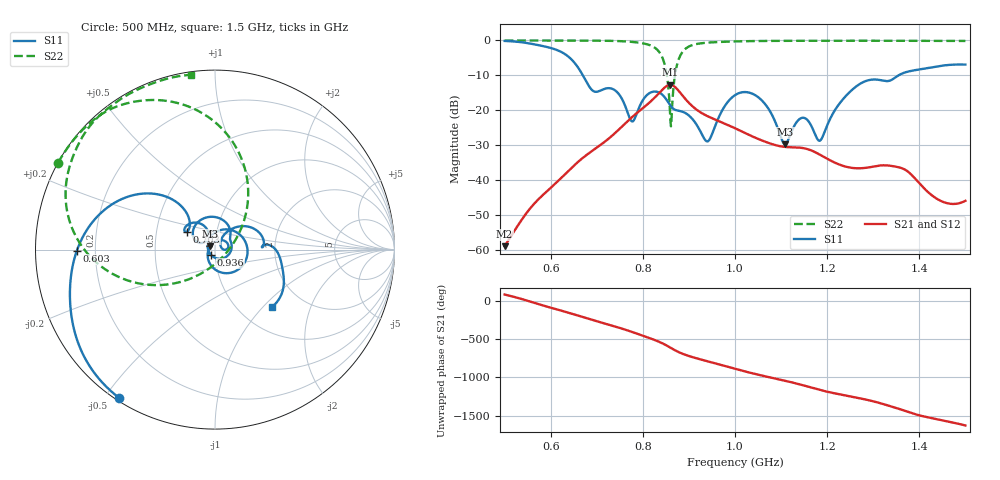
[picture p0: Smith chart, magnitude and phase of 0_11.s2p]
! TOUCHSTONE file generated by CST MICROWAVE STUDIO
! Date and time: Mon Sep 28 14:07:42 2020
! Project name: Scenario_1_Free_SPace.cst
! Parameters = {dx1=346; L_HA=400; MT=2.54; Rad_Dielectric=30; Rad_Lower=7.3; Rad_Upper=30; a_HA=580; a_WG=246; b_HA=500; b_WG=121; c_HA=0; c_WG=187; d_feed=85; h_feed=15; h_lower=18; h_upper=40}
! Header version: 2018
! Port assignment regex: !\s*Touchstone port\s*([0-9]+)\s*=\s*(CST MWS port|CST DS port)\s*([0-9]+|Zmin|Zmax)\s*\(\"(.*)\"\)(\s*mode\s*([0-9]+))?.*
! Touchstone port assignment:
! Touchstone port 1 = CST MWS port 1 ("")
! Touchstone port 2 = CST MWS port 2 ("")
# GHz S DB R 50
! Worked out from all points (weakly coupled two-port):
!   1003 points, 500 MHz to 1.5 GHz, reference 50 ohm
!   highest |S21| = -12.71 dB at 860 MHz (marker M1); lowest = -58.9 dB at 500 MHz (marker M2)
!   lowest |S11| = -29.7 dB at 1.109 GHz (marker M3), VSWR 1.07, Z = 47.3 + j1.77 ohm
!   |S11| at or under -10 dB: 669.8 MHz to 1.355 GHz (685.1 MHz wide, 67.7 % of centre)
!   |S22| runs from -24.6 to 0.0 dB; largest |S21 - S12| = 2.4e-05
!   S11 on the Smith chart (normalised r, x): 500 MHz: 0.01, -0.54; 603 MHz: 0.13, -0.00; 703 MHz: 0.72, +0.15; 936 MHz: 0.95, -0.06; 1.5 GHz: 1.41, -1.13
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0.5  -0.14 -122.8  -58.91 81.0  -58.91 81.0  -0.01 151.1
0.603  -2.27 -179.5  -41.85 -95.7  -41.85 -95.7  -0.02 143.8
0.667  -9.35 129.0  -33.93 151.8  -33.93 151.8  -0.04 138.3
0.703  -14.61 147.5  -30.42 86.7  -30.42 86.7  -0.07 134.4
0.742  -14.53 126.7  -26.24 19.4  -26.24 19.4  -0.16 128.7
0.777  -23.21 135.1  -21.90 -48.3  -21.90 -48.3  -0.43 121.2
0.834  -14.84 89.0  -15.24 -173.1  -15.24 -173.1  -3.06 89.4
0.848  -16.36 60.3  -13.41 147.3  -13.41 147.3  -7.21 65.9
0.86  -18.69 42.6  -12.71 106.7  -12.71 106.7  -23.28 -10.9
0.87  -19.87 34.3  -13.35 72.5  -13.35 72.5  -9.71 -143.6
0.883  -20.28 17.6  -15.28 35.1  -15.28 35.1  -3.91 -171.3
0.936  -28.63 -127.7  -21.40 -63.8  -21.40 -63.8  -0.68 152.4
1  -15.67 27.7  -25.15 -169.8  -25.15 -169.8  -0.29 140.3
1.057  -17.02 -68.2  -28.56 104.7  -28.56 104.7  -0.15 133.7
1.109  -29.69 145.2  -30.50 34.3  -30.50 34.3  -0.12 128.8
1.142  -22.34 32.4  -30.73 -15.2  -30.73 -15.2  -0.11 126.1
1.167  -24.83 -1.1  -31.58 -57.6  -31.58 -57.6  -0.10 124.1
1.185  -28.64 30.3  -32.77 -86.4  -32.77 -86.4  -0.09 122.8
1.256  -13.93 40.5  -36.53 -176.3  -36.53 -176.3  -0.08 117.3
1.334  -11.59 4.0  -35.83 68.3  -35.83 68.3  -0.09 111.4
1.447  -7.28 -27.9  -45.98 -117.8  -46.00 -117.7  -0.11 102.4
1.5  -6.92 -45.0  -45.92 171.0  -45.94 171.1  -0.15 97.8
